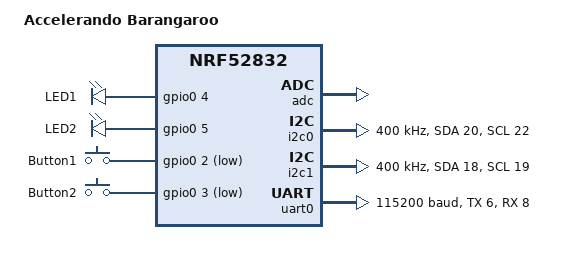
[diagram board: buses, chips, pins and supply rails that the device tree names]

/dts-v1/;
#include <nordic/nrf52832_qfaa.dtsi>

/ {
	model = "Accelerando Barangaroo";

	compatible = "ebyte,nrf52832";

	chosen {
		zephyr,console = &uart0;
		zephyr,shell-uart = &uart0;
		zephyr,uart-mcumgr = &uart0;
		zephyr,bt-mon-uart = &uart0;
		zephyr,bt-c2h-uart = &uart0;
		zephyr,sram = &sram0;
		zephyr,flash = &flash0;
		zephyr,code-partition = &slot0_partition;
	};

	/* These aliases are provided for compatibility with samples */
	aliases {
		led0 = &led0;
		sw0 = &button0;
	};

	leds {
		compatible = "gpio-leds";
		led0: led_0 {
			gpios = <&gpio0 4 GPIO_ACTIVE_HIGH>;
			label = "LED1";
		};
		led1: led_1 {
			gpios = <&gpio0 5 GPIO_ACTIVE_HIGH>;
			label = "LED2";
		};
	};

	buttons {
		compatible = "gpio-keys";
		button0: button_0 {
			gpios = <&gpio0 2 (GPIO_PULL_UP | GPIO_ACTIVE_LOW)>;
			label = "Button1";
		};
		button1: button_1 {
			gpios = <&gpio0 3 (GPIO_PULL_UP | GPIO_ACTIVE_LOW)>;
			label = "Button2";
		};
	};
};

&adc {
	status = "okay";
};

&gpiote {
	status = "okay";
};

&gpio0 {
	status = "okay";
};

&i2c0 {
        compatible = "nordic,nrf-twim";
	status = "okay";
	clock-frequency = <I2C_BITRATE_FAST>;
	sda-pin = <20>;
	scl-pin = <22>;
};

&i2c1 {
        compatible = "nordic,nrf-twim";
	status = "okay";
	clock-frequency = <I2C_BITRATE_FAST>;
	sda-pin = <18>;
	scl-pin = <19>;
};

&uart0 {
	compatible = "nordic,nrf-uart";
	current-speed = <115200>;
	status = "okay";
	tx-pin = <6>;
	rx-pin = <8>;
};

/*
spi0: &spi0 {
	compatible = "nordic,nrf-spi";
	status = "okay";
	sck-pin = <25>;
	mosi-pin = <23>;
	miso-pin = <24>;
	cs-gpios = <&gpio0 27 GPIO_ACTIVE_LOW>;
};
*/

&flash0 {
	/*
	 * For more information, see:
	 * http://docs.zephyrproject.org/latest/guides/dts/index.html#flash-partitions
	 */
	partitions {
		compatible = "fixed-partitions";
		#address-cells = <1>;
		#size-cells = <1>;

		boot_partition: partition@0 {
			label = "mcuboot";
			reg = <0x00000000 0xc000>;
		};
		slot0_partition: partition@c000 {
			label = "image-0";
			reg = <0x0000c000 0x32000>;
		};
		slot1_partition: partition@3e000 {
			label = "image-1";
			reg = <0x0003e000 0x32000>;
		};
		scratch_partition: partition@70000 {
			label = "image-scratch";
			reg = <0x00070000 0xa000>;
		};
		storage_partition: partition@7a000 {
			label = "storage";
			reg = <0x0007a000 0x00006000>;
		};
	};
};
